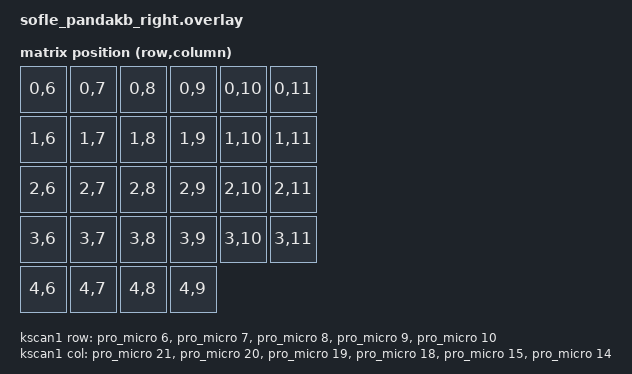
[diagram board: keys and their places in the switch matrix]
#include <dt-bindings/zmk/matrix_transform.h>

/ {
    chosen {
        zmk,kscan = &kscan1;
        zmk,matrix-transform = &default_transform;
    };

    default_transform: keymap_transform_0 {
        compatible = "zmk,matrix-transform";
        columns = <12>;
        rows = <5>;
        // Carte des touches pour le côté droit
        map = <
            RC(0,6) RC(0,7) RC(0,8) RC(0,9) RC(0,10) RC(0,11)
            RC(1,6) RC(1,7) RC(1,8) RC(1,9) RC(1,10) RC(1,11)
            RC(2,6) RC(2,7) RC(2,8) RC(2,9) RC(2,10) RC(2,11)
            RC(3,6) RC(3,7) RC(3,8) RC(3,9) RC(3,10) RC(3,11)
            RC(4,6) RC(4,7) RC(4,8) RC(4,9)
        >;
    };

    kscan1: kscan {
        compatible = "zmk,kscan-gpio-matrix";
        wakeup-source;
        diode-direction = "col2row";
        
        // Pins pour le côté droit
        col-gpios
            = <&pro_micro 21 GPIO_ACTIVE_HIGH>
            , <&pro_micro 20 GPIO_ACTIVE_HIGH>
            , <&pro_micro 19 GPIO_ACTIVE_HIGH>
            , <&pro_micro 18 GPIO_ACTIVE_HIGH>
            , <&pro_micro 15 GPIO_ACTIVE_HIGH>
            , <&pro_micro 14 GPIO_ACTIVE_HIGH>
            ;
        
        row-gpios
            = <&pro_micro 6 (GPIO_ACTIVE_HIGH | GPIO_PULL_DOWN)>
            , <&pro_micro 7 (GPIO_ACTIVE_HIGH | GPIO_PULL_DOWN)>
            , <&pro_micro 8 (GPIO_ACTIVE_HIGH | GPIO_PULL_DOWN)>
            , <&pro_micro 9 (GPIO_ACTIVE_HIGH | GPIO_PULL_DOWN)>
            , <&pro_micro 10 (GPIO_ACTIVE_HIGH | GPIO_PULL_DOWN)>
            ;  // ← Point-virgule manquant
    };  // ← Accolade fermante manquante
};


